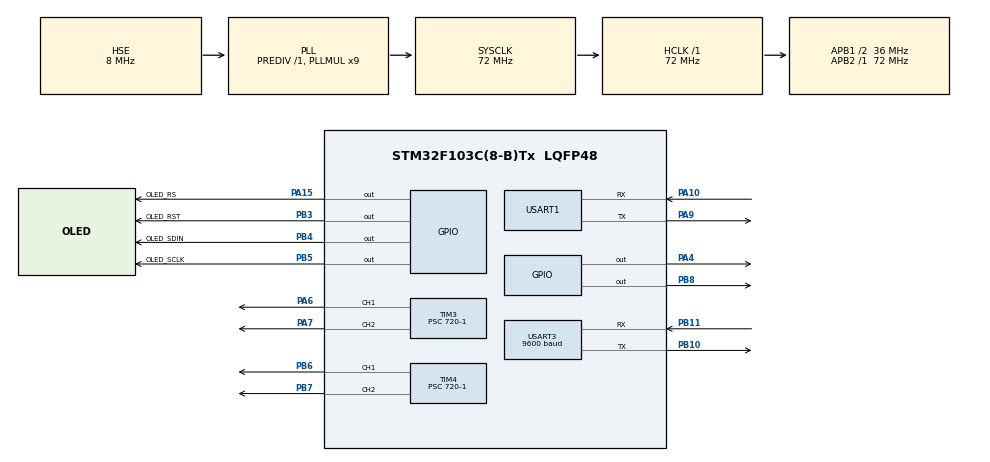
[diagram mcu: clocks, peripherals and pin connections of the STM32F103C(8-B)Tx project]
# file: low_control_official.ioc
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Mcu.Family=STM32F1
Mcu.Name=STM32F103C(8-B)Tx
Mcu.Package=LQFP48
NVIC.PriorityGroup=NVIC_PRIORITYGROUP_4
NVIC.TIM2_IRQn=true\:0\:0\:false\:false\:true\:true\:true\:true
NVIC.USART1_IRQn=true\:1\:0\:true\:false\:true\:true\:true\:true
PA10.Mode=Asynchronous
PA10.Signal=USART1_RX
PA13.Mode=Serial_Wire
PA13.Signal=SYS_JTMS-SWDIO
PA14.Mode=Serial_Wire
PA14.Signal=SYS_JTCK-SWCLK
PA15.GPIO_Label=OLED_RS
PA15.PinState=GPIO_PIN_RESET
PA15.Signal=GPIO_Output
PA4.PinState=GPIO_PIN_RESET
PA4.Signal=GPIO_Output
PA6.Signal=S_TIM3_CH1
PA7.Signal=S_TIM3_CH2
PA9.Mode=Asynchronous
PA9.Signal=USART1_TX
PB10.Mode=Asynchronous
PB10.Signal=USART3_TX
PB11.Mode=Asynchronous
PB11.Signal=USART3_RX
PB3.GPIO_Label=OLED_RST
PB3.PinState=GPIO_PIN_RESET
PB3.Signal=GPIO_Output
PB4.GPIO_Label=OLED_SDIN
PB4.PinState=GPIO_PIN_RESET
PB4.Signal=GPIO_Output
PB5.GPIO_Label=OLED_SCLK
PB5.PinState=GPIO_PIN_RESET
PB5.Signal=GPIO_Output
PB6.Signal=S_TIM4_CH1
PB7.Signal=S_TIM4_CH2
PB8.PinState=GPIO_PIN_SET
PB8.Signal=GPIO_Output
PC14-OSC32_IN.Mode=LSE-External-Oscillator
PC14-OSC32_IN.Signal=RCC_OSC32_IN
PC15-OSC32_OUT.Mode=LSE-External-Oscillator
PC15-OSC32_OUT.Signal=RCC_OSC32_OUT
PD0-OSC_IN.Mode=HSE-External-Oscillator
PD0-OSC_IN.Signal=RCC_OSC_IN
PD1-OSC_OUT.Mode=HSE-External-Oscillator
PD1-OSC_OUT.Signal=RCC_OSC_OUT
ProjectManager.HeapSize=0x200
ProjectManager.StackSize=0x400
ProjectManager.TargetToolchain=STM32CubeIDE
RCC.AHBFreq_Value=72000000
RCC.APB1CLKDivider=RCC_HCLK_DIV2
RCC.APB1Freq_Value=36000000
RCC.APB1TimFreq_Value=72000000
RCC.APB2Freq_Value=72000000
RCC.APB2TimFreq_Value=72000000
RCC.HCLKFreq_Value=72000000
RCC.PLLMUL=RCC_PLL_MUL9
RCC.PLLSourceVirtual=RCC_PLLSOURCE_HSE
RCC.SYSCLKFreq_VALUE=72000000
RCC.SYSCLKSource=RCC_SYSCLKSOURCE_PLLCLK
RCC.USBFreq_Value=72000000
SH.S_TIM3_CH1.0=TIM3_CH1,PWM Generation1 CH1
SH.S_TIM3_CH2.0=TIM3_CH2,PWM Generation2 CH2
SH.S_TIM4_CH1.0=TIM4_CH1,PWM Generation1 CH1
SH.S_TIM4_CH2.0=TIM4_CH2,PWM Generation2 CH2
TIM2.AutoReloadPreload=TIM_AUTORELOAD_PRELOAD_ENABLE
TIM2.Period=4999
TIM2.Prescaler=7199
TIM3.AutoReloadPreload=TIM_AUTORELOAD_PRELOAD_ENABLE
TIM3.Channel-PWM\ Generation1\ CH1=TIM_CHANNEL_1
TIM3.Channel-PWM\ Generation2\ CH2=TIM_CHANNEL_2
TIM3.OCMode_PWM-PWM\ Generation1\ CH1=TIM_OCMODE_PWM1
TIM3.OCMode_PWM-PWM\ Generation2\ CH2=TIM_OCMODE_PWM1
TIM3.OCPolarity_1=TIM_OCPOLARITY_HIGH
TIM3.OCPolarity_2=TIM_OCPOLARITY_HIGH
TIM3.Period=2000-1
TIM3.Prescaler=720-1
TIM3.Pulse-PWM\ Generation1\ CH1=1500
TIM3.Pulse-PWM\ Generation2\ CH2=1500
TIM4.AutoReloadPreload=TIM_AUTORELOAD_PRELOAD_ENABLE
TIM4.Channel-PWM\ Generation1\ CH1=TIM_CHANNEL_1
TIM4.Channel-PWM\ Generation2\ CH2=TIM_CHANNEL_2
TIM4.OCMode_PWM-PWM\ Generation1\ CH1=TIM_OCMODE_PWM1
TIM4.OCPolarity_1=TIM_OCPOLARITY_HIGH
TIM4.Period=2000-1
TIM4.Prescaler=720-1
TIM4.Pulse-PWM\ Generation1\ CH1=1500
USART1.VirtualMode=VM_ASYNC
USART3.BaudRate=9600
USART3.VirtualMode=VM_ASYNC
VP_TIM2_VS_ClockSourceINT.Mode=Internal
board=custom

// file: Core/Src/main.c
/* USER CODE BEGIN Header */
/**
  ******************************************************************************
  * @file           : main.c
  * @brief          : Main program body
  ******************************************************************************
  * @attention
  *
  * Copyright (c) 2024 STMicroelectronics.
  * All rights reserved.
  *
  * This software is licensed under terms that can be found in the LICENSE file
  * in the root directory of this software component.
  * If no LICENSE file comes with this software, it is provided AS-IS.
  *
  ******************************************************************************
  */
/* USER CODE END Header */
#include "main.h"
#include "tim.h"
#include "usart.h"
#include "gpio.h"

/* USER CODE BEGIN Includes */
#include"string.h"
#include"math.h"
#include"stdio.h"
#include "stdlib.h"
#include "oled.h"
#include "syn6288.h"
/* USER CODE END Includes */

/* USER CODE BEGIN PD */
/*#define OLED_RS_Pin GPIO_PIN_5
#define OLED_RS_GPIO_Port GPIOB
#define OLED_SCLK_Pin GPIO_PIN_4
#define OLED_SCLK_GPIO_Port GPIOB
#define OLED_SDIN_Pin GPIO_PIN_3
#define OLED_SDIN_GPIO_Port GPIOB
#define OLED_RST_Pin GPIO_PIN_15
#define OLED_RST_GPIO_Port GPIOA*/

/* USER CODE END PD */

/* USER CODE BEGIN PV */
uint8_t buff[3];
uint16_t intbuff[3];
uint16_t changebuff[6];
uint8_t Usart_Receive;
uint8_t triggle;
double fst=0;
double sec=0;
//int flag=0;
//uint16_t test[2] = {0xC7FD, 0xC0EB};
//int range_max=50;
int x;
int y;
int receive_flag=0;
/* USER CODE END PV */

void SystemClock_Config(void);
/* USER CODE BEGIN PFP */
void HAL_UART_RxCpltCallback(UART_HandleTypeDef *huart);
void servo_angle_left_right(uint16_t angle);
void servo_angle_up_down(uint16_t angle);
/* USER CODE END PFP */

/* USER CODE BEGIN 0 */

uint8_t SYN_StopCom[] = {0xFD, 0X00, 0X02, 0X02, 0XFD};
uint8_t SYN_SuspendCom[] = {0XFD, 0X00, 0X02, 0X03, 0XFC};
uint8_t SYN_RecoverCom[] = {0XFD, 0X00, 0X02, 0X04, 0XFB};
uint8_t SYN_ChackCom[] = {0XFD, 0X00, 0X02, 0X21, 0XDE};
uint8_t SYN_PowerDownCom[] = {0XFD, 0X00, 0X02, 0X88, 0X77};

/*void HAL_UART_RxCpltCallback(UART_HandleTypeDef *huart)
{
	//static u8 Count=0;
		//u8 Usart_Receive;
		if(huart->Instance==USART1)
		   {
			//HAL_UART_Receive_IT(&huart1,(uint8_t *)Usart_Receive,1);
			 // if(receive_flag == 0)
			 // {
				// buff[Count]=Usart_Receive;
				// if(Usart_Receive == 0x01||Count>0)
				// {
				//	 Count++;
				// }
				// else
				 //{
				//	 Count=0;
				 //}
				 //if (Count == 4)
				 //{
					// Count=0;
					// if(buff[4] == 0x02)
					// {
					//	 receive_flag = 1;
					// }
				// }
			//HAL_UART_Receive_IT(&huart1,buff,3);
			HAL_UART_Transmit(&huart1,buff,3,1000);
			//start=0;
			     //HAL_UART_Transmit_IT(&huart1,buff,3);
			  }
		    //HAL_UART_Transmit(&huart1,buff,3,1000);

}
*/

/*void HAL_TIM_PeriodElapsedCallback(TIM_HandleTypeDef *htim)
{

    }
}
*/

/* USER CODE END 0 */

int main(void)
{

  /* MCU Configuration--------------------------------------------------------*/

  /* Reset of all peripherals, Initializes the Flash interface and the Systick. */
  HAL_Init();

  /* Configure the system clock */
  SystemClock_Config();

  /* Initialize all configured peripherals */
  MX_GPIO_Init();
  MX_TIM3_Init();
  MX_TIM4_Init();
  MX_USART1_UART_Init();
  MX_USART3_UART_Init();
  MX_TIM2_Init();
  /* USER CODE BEGIN 2 */
  OLED_Init();
  OLED_Clear();
  OLED_Display_On();
  HAL_TIM_PWM_Start(&htim4,TIM_CHANNEL_1);
  HAL_TIM_PWM_Start(&htim4,TIM_CHANNEL_2);
  HAL_TIM_PWM_Start(&htim3,TIM_CHANNEL_1);
  HAL_TIM_PWM_Start(&htim3,TIM_CHANNEL_2);
  HAL_TIM_Base_Start_IT(&htim2);
  servo_angle_left_right(90);
  servo_angle_up_down(80);
  int orgin1=90;
  int orgin2=80;
  int step=5;
  int flag=0;
  HAL_GPIO_WritePin(GPIOB, GPIO_PIN_8, GPIO_PIN_SET);
  //HAL_UART_Receive_IT(&huart1,buff,3);
  //HAL_UART_Receive_IT(&huart1,(uint8_t *)Usart_Receive,1);
  //HAL_GPIO_WritePin(GPIOA, GPIO_PIN_4, GPIO_PIN_RESET);
  /* USER CODE END 2 */

  /* Infinite loop */
  /* USER CODE BEGIN WHILE */
  while (1)
  {

	  HAL_GPIO_WritePin(GPIOB, GPIO_PIN_8, GPIO_PIN_SET);
	  HAL_UART_Receive(&huart3,buff,3,HAL_MAX_DELAY);

	 // HAL_UART_Receive_IT(&huart1,buff,3);
	  HAL_UART_Transmit(&huart3,buff,3,HAL_MAX_DELAY);
	  //HAL_UART_Transmit(&huart1,buff,3,1000);
	  //if(receive_flag == 1)
	  //		{
	  //			HAL_UART_Transmit(&huart1,buff[1],3,100);
	  //			receive_flag = 0;
	  //		}
	  intbuff[0]=buff[0];
	  intbuff[1]=buff[1];
	  intbuff[2]=buff[2];
	  intbuff[0]=floor(intbuff[0]/16)*10+intbuff[0]%16;
	  intbuff[1]=floor(intbuff[1]/16)*10+intbuff[1]%16;
	  intbuff[2]=floor(intbuff[2]/16)*10+intbuff[2]%16;
	  changebuff[0]=floor(intbuff[0]/10);
	  changebuff[1]=intbuff[0]-changebuff[0]*10;
	  changebuff[2]=floor(intbuff[1]/10);
	  changebuff[3]=intbuff[1]-changebuff[2]*10;
	  changebuff[4]=floor(intbuff[2]/10);
	  changebuff[5]=intbuff[2]-changebuff[4]*10;
	  //HAL_UART_Transmit(&huart1,buff,3,1000);
	  int x1=changebuff[0]*100+changebuff[1]*10+changebuff[2];
	  int y1=changebuff[3]*100+changebuff[4]*10+changebuff[5];
	  int x=changebuff[0]*100+changebuff[1]*10+changebuff[2]-320;
	  int y=-(changebuff[3]*100+changebuff[4]*10+changebuff[5]-240);
	  int x2;
	  int y2;
	  if(x<=0)
	  {
		  x2=-x;
	  }
	  else
	  {
		  x2=x;
	  }
	  if(y<=0)
	  {
	  	  y2=-y;
	  }
	  else
	  {
	      y2=y;
	  }
/*
	  int angx;
	  int angy;
	  int l=900;
	  angx=atan2(x2,l)*180/3.1416;
	  angy=atan2(y2,l)*180/3.1416;
*/
	  //
	  /*
	  OLED_ShowString(0,5,"orgin:");
	  OLED_ShowNumber(40,5,x1,6,12);
	  OLED_ShowNumber(80,5,y1,6,12);
	  OLED_ShowString(0,40,"trans:");
	  OLED_ShowNumber(40,40,x2,6,12);
	  OLED_ShowNumber(80,40,y2,6,12);
	  HAL_Delay(50);
	  OLED_Refresh_Gram();
	  */
	  /*
	  if(orgin1<130&&flag==0)
	  {
		  orgin1=orgin1+10;
		  servo_angle_left_right(orgin1);
		  HAL_Delay(200);
		  if(orgin1==130)
		  {
			  flag=1;
		  }
	  }
	  if(orgin1>50&&flag==1)
	  {
		  orgin1=orgin1-10;
		  servo_angle_left_right(orgin1);
		  HAL_Delay(200);
		  if(orgin1==50)
		  {
			  flag=0;
		  }
	  }
	 */
//calculate  the answer
	/*  int angx;
	  int angy;
	  int l=933;
	  angx=atan2(x2,l)*180/3.1416;
	  angy=atan2(y2,l)*180/3.1416;
	  */
	  /*
	  if(x>0)
	  {

		  servo_angle_left_right(90-floor(angx));

	  }
	  else if(x<=0)
	  {
	  	  servo_angle_left_right(90+floor(angx));

	  }

	  if(y>0)
	  {
		  //servo_angle_up_down(90-angy);
	  }
	  if(y<=0)
	  {
		 // servo_angle_up_down(90+angy);
	  }

*/
	 // HAL_Delay(50);
/*	  if(start==0)
	  {
    	if(orgin1<120&&flag==0)
    		{
    			orgin1=orgin1+step;
    			servo_angle_left_right(orgin1);
    			//HAL_Delay(50);
    			if(abs(x)<300&&abs(y)<300)
    			{
    				servo_angle_left_right(orgin1-step);
    				SYN_FrameInfo(0,"[v15][m1][t5]����");
    				HAL_Delay(1000);
    			}
    		}
    	else
    	    {
    		    orgin1=orgin1-step;
    		    servo_angle_left_right(orgin1);
    		    //HAL_Delay(50);
    		    flag=1;
    		    if(orgin1==30)
    		    {
    		    	flag=0;
    		    }
    		    if(abs(x)<300&&abs(y)<300)
    		     {
    		    	servo_angle_left_right(orgin1+step);
    		        SYN_FrameInfo(0,"[v15][m1][t5]����");
    		        HAL_Delay(1000);
    		     }
    	    }

	  }
	  */

	  int quadrant;
	  if(x>0&&y>0)
	  {
	   quadrant=1;
	  }
	  else if(x<0&&y>0)
	  {
	   quadrant=2;
	  }
	  else if(x<0&&y<0)
	  {
	   quadrant=3;
	  }
	  else if(x>0&&y<0)
	  {
	   quadrant=4;
	  }

	  int change_angle=5;
	  int change_angle1=1;
	  int range_max=100;
	  int range_min=50;
	  if(abs(x)>50)
	  {
	   if(abs(x)>120)
	   {
	   if(quadrant==1||quadrant==4)
	     {
	       orgin1=orgin1-change_angle;
	       if(orgin1>=180)
	       {
	    	   orgin1=180;
	       }
	       if(orgin1<5)
	       {
	      	   orgin1=5;
	       }
	       servo_angle_left_right(orgin1);
	     }
	   if(quadrant==2||quadrant==3)
	     {
	       orgin1=orgin1+change_angle;
	       if(orgin1>=180)
	       {
	       	   orgin1=180;
	       }
	       if(orgin1<5)
	       {
	       	   orgin1=5;
	       }
	       servo_angle_left_right(orgin1);
	     }
	   if(quadrant==1||quadrant==2)
	     {
	       orgin2=orgin2+change_angle;																																																		change_angle;
	       if(orgin2>=180)
		 {
			   orgin2=180;
	     }
		   if(orgin2<5)
		 {
			   orgin2=5;
		 }
	       //servo_angle_up_down(orgin2);
	     }
	   if(quadrant==3||quadrant==4)
	     {
	       orgin2=orgin2-change_angle;
	       if(orgin2>=180)
	     {
			   orgin2=180;
	     }
		   if(orgin2<5)
	     {
			   orgin2=5;
	     }
	       //servo_angle_up_down(orgin2);
	     }
	   }
	   else
	   {
		   if(quadrant==1||quadrant==4)
		   	     {
		   	       orgin1=orgin1-change_angle1;
		   	       if(orgin1>=180)
		   	       {
		   	    	   orgin1=180;
		   	       }
		   	       if(orgin1<5)
		   	       {
		   	      	   orgin1=5;
		   	       }
		   	       servo_angle_left_right(orgin1);
		   	     }
		   	   if(quadrant==2||quadrant==3)
		   	     {
		   	       orgin1=orgin1+change_angle1;
		   	       if(orgin1>=180)
		   	       {
		   	       	   orgin1=180;
		   	       }
		   	       if(orgin1<5)
		   	       {
		   	       	   orgin1=5;
		   	       }
		   	       servo_angle_left_right(orgin1);
		   	     }
	   }

	  }

	 /*servo_angle_up_down(intbuff[3]*100+intbuff[4]*10+intbuff[5]);
	 servo_angle_left_right(intbuff[0]*100+intbuff[1]*10+intbuff[2]);
     */
    /* USER CODE END WHILE */

  }
}

void SystemClock_Config(void)
{
  RCC_OscInitTypeDef RCC_OscInitStruct = {0};
  RCC_ClkInitTypeDef RCC_ClkInitStruct = {0};

  /** Initializes the RCC Oscillators according to the specified parameters
  * in the RCC_OscInitTypeDef structure.
  */
  RCC_OscInitStruct.OscillatorType = RCC_OSCILLATORTYPE_HSE;
  RCC_OscInitStruct.HSEState = RCC_HSE_ON;
  RCC_OscInitStruct.HSEPredivValue = RCC_HSE_PREDIV_DIV1;
  RCC_OscInitStruct.HSIState = RCC_HSI_ON;
  RCC_OscInitStruct.PLL.PLLState = RCC_PLL_ON;
  RCC_OscInitStruct.PLL.PLLSource = RCC_PLLSOURCE_HSE;
  RCC_OscInitStruct.PLL.PLLMUL = RCC_PLL_MUL9;
  if (HAL_RCC_OscConfig(&RCC_OscInitStruct) != HAL_OK)
  {
    Error_Handler();
  }

  /** Initializes the CPU, AHB and APB buses clocks
  */
  RCC_ClkInitStruct.ClockType = RCC_CLOCKTYPE_HCLK|RCC_CLOCKTYPE_SYSCLK
                              |RCC_CLOCKTYPE_PCLK1|RCC_CLOCKTYPE_PCLK2;
  RCC_ClkInitStruct.SYSCLKSource = RCC_SYSCLKSOURCE_PLLCLK;
  RCC_ClkInitStruct.AHBCLKDivider = RCC_SYSCLK_DIV1;
  RCC_ClkInitStruct.APB1CLKDivider = RCC_HCLK_DIV2;
  RCC_ClkInitStruct.APB2CLKDivider = RCC_HCLK_DIV1;

  if (HAL_RCC_ClockConfig(&RCC_ClkInitStruct, FLASH_LATENCY_2) != HAL_OK)
  {
    Error_Handler();
  }
}

/* USER CODE BEGIN 4 */
void servo_angle_left_right(uint16_t angle)
{
	uint16_t pulse;
	if(angle<=0)
	{
		angle=5;
	}
	if(angle>=180)
	{
		angle=180;
	}
	pulse=(uint32_t)(50+angle*100/90);
	__HAL_TIM_SET_COMPARE(&htim4,TIM_CHANNEL_1,pulse);
}
void servo_angle_up_down(uint16_t angle)
{
	uint32_t pulse;
	if(angle<=0)
	{
		angle=5;
	}
	if(angle>=180)
	{
		angle=180;
	}
	pulse=(uint32_t)(50+angle*100/90);
	//__HAL_TIM_SET_COMPARE(&htim3,TIM_CHANNEL_1,pulse);
	__HAL_TIM_SET_COMPARE(&htim4,TIM_CHANNEL_2,pulse);
}
/* USER CODE END 4 */

void Error_Handler(void)
{
  __disable_irq();
  while (1)
  {
  }
}
